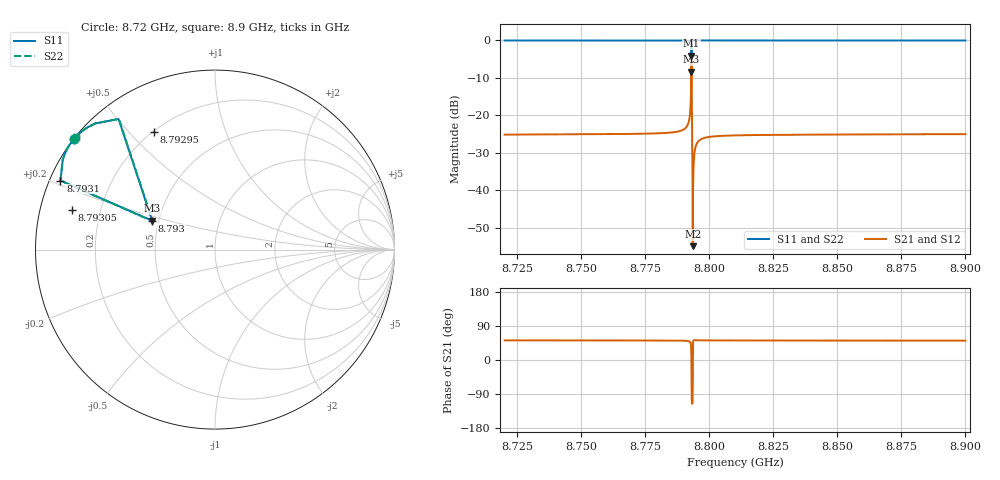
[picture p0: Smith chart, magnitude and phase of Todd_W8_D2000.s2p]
! Sonnet Data File
! From: emgraph Version : 16.52
! From Project: transmon_brgOdd
! Data is De-embedded
! Data File Written: 11/11/2017 22:28:47
!< HDATE 11/11/2017 18:22:48
!< MDATE 11/11/2017 18:22:48
!< PARAMS
!< Lj = 15.24
!< Gap = 6.0
!< Width = 10.0
!< Airgap = 6.0
!< Pwidth = 2000.0
!< Dist = 2000.0
!< END PARAMS
# GHZ S MA R 34.67000
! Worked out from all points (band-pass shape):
!   3601 points, 8.72 GHz to 8.9 GHz, reference 34.67 ohm
!   highest |S21| = -4.05 dB at 8.793 GHz (marker M1); lowest = -54.9 dB at 8.7935 GHz (marker M2)
!   |S21| within 3 dB of the highest: 8.79294 GHz to 8.793031 GHz (90.92 kHz wide, 0.00103 % of centre)
!   lowest |S11| = -8.3 dB at 8.793 GHz (marker M3), VSWR 2.25, Z = 16 + j6.03 ohm
!   |S11| at or under -10 dB: nowhere
!   |S22| runs from -8.4 to 0.0 dB; largest |S21 - S12| = 0
!   S11 on the Smith chart (normalised r, x): 8.72 GHz: 0.00, +0.35; 8.79295 GHz: 0.20, +0.59; 8.793 GHz: 0.46, +0.17; 8.79305 GHz: 0.10, +0.13; 8.7931 GHz: 0.03, +0.21; 8.9 GHz: 0.00, +0.35
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8.72  0.9985 141.8  0.05549 51.8  0.05549 51.8  0.9985 141.8
!< P1 F=8.72 Eeff=(5.13609477 -5.6761e-5) Z0=(34.6490765 -9.5162e-5) R=0.0 C=0.0
!< P2 F=8.72 Eeff=(5.13609477 -5.6761e-5) Z0=(34.6490765 -9.5162e-5) R=0.0 C=0.0
8.75  0.9984 141.7  0.05601 51.7  0.05601 51.7  0.9984 141.7
8.78  0.9983 141.4  0.05777 51.5  0.05777 51.5  0.9983 141.4
8.79015  0.9978 141.0  0.0656 50.9  0.0656 50.9  0.9978 141.0
8.79155  0.9969 140.4  0.07519 50.2  0.07519 50.2  0.9969 140.4
8.7923  0.9944 139.2  0.09607 48.6  0.09607 48.6  0.9944 139.2
8.7925  0.9918 138.3  0.1122 47.3  0.1122 47.3  0.9918 138.3
8.7927  0.9836 136.1  0.1494 44.1  0.1494 44.1  0.9836 136.1
8.79295  0.738 117.6  0.4814 9.1  0.4814 9.1  0.7373 117.5
8.793  0.385 155.3  0.6271 -41.8  0.6271 -41.8  0.3821 155.5
8.79305  0.8266 164.7  0.3605 -87.0  0.3605 -87.0  0.826 164.8
8.7931  0.9429 155.9  0.1984 -103.0  0.1984 -103.0  0.9428 156.0
8.7935  0.9982 144.7  0.001808 -42.6  0.001808 -42.6  0.9982 144.7
8.79405  0.9992 143.1  0.02893 52.2  0.02893 52.2  0.9992 143.1
8.7942  0.9992 142.9  0.03226 52.3  0.03226 52.3  0.9992 142.9
8.7946  0.9991 142.5  0.03812 52.3  0.03812 52.3  0.9991 142.5
8.79495  0.999 142.3  0.04127 52.2  0.04127 52.2  0.999 142.3
8.7966  0.9988 141.9  0.04791 51.9  0.04791 51.9  0.9988 141.9
8.81  0.9985 141.5  0.05419 51.5  0.05419 51.5  0.9985 141.5
8.84  0.9985 141.3  0.0555 51.3  0.0555 51.3  0.9985 141.3
8.87  0.9984 141.2  0.05599 51.2  0.05599 51.2  0.9984 141.2
8.9  0.9984 141.1  0.05635 51.1  0.05635 51.1  0.9984 141.1
